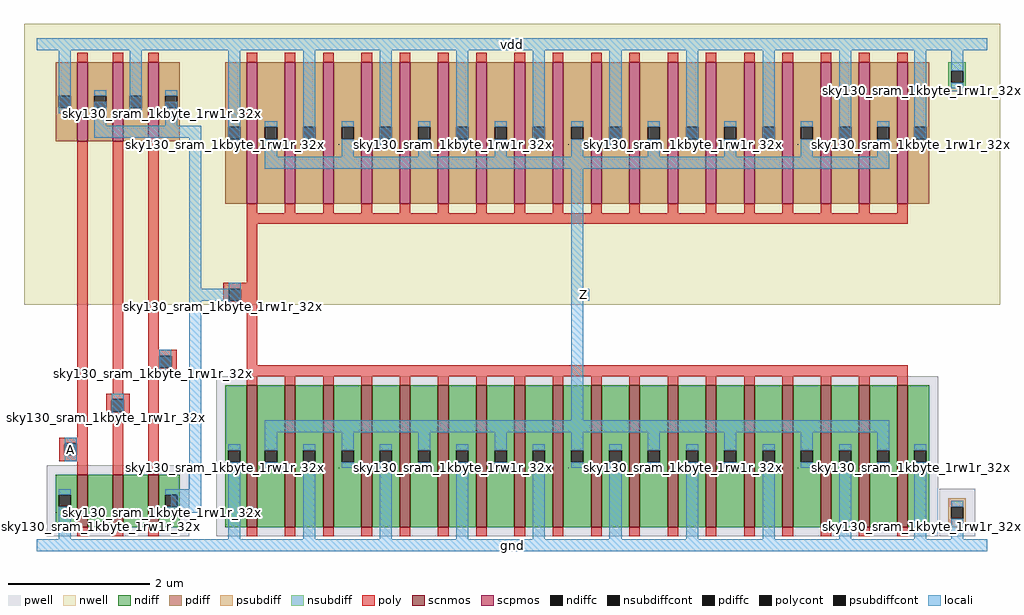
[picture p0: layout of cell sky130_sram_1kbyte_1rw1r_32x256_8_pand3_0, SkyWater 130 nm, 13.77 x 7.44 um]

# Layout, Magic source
magic
tech sky130B
magscale 1 2
<< locali >>
rect 0 1397 2682 1431
rect 430 724 464 1167
rect 430 690 559 724
rect 1525 690 1559 724
rect 345 485 379 551
rect 212 361 246 427
rect 79 237 113 303
rect 0 -17 2682 17
use sky130_sram_1kbyte_1rw1r_32x256_8_pdriver_4  sky130_sram_1kbyte_1rw1r_32x256_8_pdriver_4_0
transform 1 0 478 0 1 0
box -36 -17 2240 1471
use sky130_sram_1kbyte_1rw1r_32x256_8_pnand3  sky130_sram_1kbyte_1rw1r_32x256_8_pnand3_0
transform 1 0 0 0 1 0
box -36 -17 514 1471
<< labels >>
rlabel locali s 1542 707 1542 707 4 Z
rlabel locali s 96 270 96 270 4 A
rlabel locali s 229 394 229 394 4 B
rlabel locali s 362 518 362 518 4 C
rlabel locali s 1341 0 1341 0 4 gnd
rlabel locali s 1341 1414 1341 1414 4 vdd
<< properties >>
string FIXED_BBOX 0 0 2682 1414
string GDS_END 6268862
string GDS_FILE $PDKPATH/libs.ref/sky130_sram_macros/gds/sky130_sram_1kbyte_1rw1r_32x256_8.gds
string GDS_START 6267614
<< end >>

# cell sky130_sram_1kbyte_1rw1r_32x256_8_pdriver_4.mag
magic
tech sky130B
magscale 1 2
<< nwell >>
rect -36 679 2240 1471
<< locali >>
rect 0 1397 2204 1431
rect 64 674 98 740
rect 1047 690 1081 724
rect 0 -17 2204 17
use sky130_sram_1kbyte_1rw1r_32x256_8_pinv_16  sky130_sram_1kbyte_1rw1r_32x256_8_pinv_16_0
transform 1 0 0 0 1 0
box -36 -17 2240 1471
<< labels >>
rlabel locali s 1064 707 1064 707 4 Z
rlabel locali s 81 707 81 707 4 A
rlabel locali s 1102 0 1102 0 4 gnd
rlabel locali s 1102 1414 1102 1414 4 vdd
<< properties >>
string FIXED_BBOX 0 0 2204 1414
string GDS_END 357920
string GDS_FILE $PDKPATH/libs.ref/sky130_sram_macros/gds/sky130_sram_1kbyte_1rw1r_32x256_8.gds
string GDS_START 357088
<< end >>

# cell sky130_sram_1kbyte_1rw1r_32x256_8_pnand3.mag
magic
tech sky130B
magscale 1 2
<< nwell >>
rect -36 679 514 1471
<< pwell >>
rect 128 25 330 225
<< scnmos >>
rect 214 51 244 199
<< ndiff >>
rect 154 51 214 199
rect 244 51 304 199
<< poly >>
rect 114 303 144 1113
rect 214 427 244 1113
rect 314 551 344 1113
rect 314 535 395 551
rect 314 501 345 535
rect 379 501 395 535
rect 314 485 395 501
rect 196 411 262 427
rect 196 377 212 411
rect 246 377 262 411
rect 196 361 262 377
rect 63 287 144 303
rect 63 253 79 287
rect 113 253 144 287
rect 63 237 144 253
rect 114 225 144 237
rect 214 199 244 361
rect 314 225 344 485
rect 214 25 244 51
<< polycont >>
rect 345 501 379 535
rect 212 377 246 411
rect 79 253 113 287
<< locali >>
rect 0 1397 478 1431
rect 62 1218 96 1397
rect 162 1184 196 1251
rect 262 1218 296 1397
rect 362 1184 396 1251
rect 162 1150 464 1184
rect 345 535 379 551
rect 345 485 379 501
rect 212 411 246 427
rect 212 361 246 377
rect 79 287 113 303
rect 79 237 113 253
rect 430 158 464 1150
rect 379 92 464 158
rect 62 17 96 92
rect 0 -17 478 17
use sky130_sram_1kbyte_1rw1r_32x256_8_contact_16  sky130_sram_1kbyte_1rw1r_32x256_8_contact_16_0
transform 1 0 329 0 1 485
box 0 0 1 1
use sky130_sram_1kbyte_1rw1r_32x256_8_contact_16  sky130_sram_1kbyte_1rw1r_32x256_8_contact_16_1
transform 1 0 196 0 1 361
box 0 0 1 1
use sky130_sram_1kbyte_1rw1r_32x256_8_contact_16  sky130_sram_1kbyte_1rw1r_32x256_8_contact_16_2
transform 1 0 63 0 1 237
box 0 0 1 1
use sky130_sram_1kbyte_1rw1r_32x256_8_nmos_m1_w0_740_sactive_dactive  sky130_sram_1kbyte_1rw1r_32x256_8_nmos_m1_w0_740_sactive_dactive_0
transform 1 0 154 0 1 51
box 0 0 1 1
use sky130_sram_1kbyte_1rw1r_32x256_8_nmos_m1_w0_740_sactive_dli  sky130_sram_1kbyte_1rw1r_32x256_8_nmos_m1_w0_740_sactive_dli_0
transform 1 0 254 0 1 51
box -26 -26 176 174
use sky130_sram_1kbyte_1rw1r_32x256_8_nmos_m1_w0_740_sli_dactive  sky130_sram_1kbyte_1rw1r_32x256_8_nmos_m1_w0_740_sli_dactive_0
transform 1 0 54 0 1 51
box -26 -26 176 174
use sky130_sram_1kbyte_1rw1r_32x256_8_pmos_m1_w1_120_sli_dli  sky130_sram_1kbyte_1rw1r_32x256_8_pmos_m1_w1_120_sli_dli_0
transform 1 0 254 0 1 1139
box -59 -54 209 278
use sky130_sram_1kbyte_1rw1r_32x256_8_pmos_m1_w1_120_sli_dli  sky130_sram_1kbyte_1rw1r_32x256_8_pmos_m1_w1_120_sli_dli_1
transform 1 0 154 0 1 1139
box -59 -54 209 278
use sky130_sram_1kbyte_1rw1r_32x256_8_pmos_m1_w1_120_sli_dli  sky130_sram_1kbyte_1rw1r_32x256_8_pmos_m1_w1_120_sli_dli_2
transform 1 0 54 0 1 1139
box -59 -54 209 278
<< labels >>
rlabel locali s 96 270 96 270 4 A
rlabel locali s 229 394 229 394 4 B
rlabel locali s 362 518 362 518 4 C
rlabel locali s 447 1167 447 1167 4 Z
rlabel locali s 239 0 239 0 4 gnd
rlabel locali s 239 1414 239 1414 4 vdd
<< properties >>
string FIXED_BBOX 0 0 478 1414
string GDS_END 361910
string GDS_FILE $PDKPATH/libs.ref/sky130_sram_macros/gds/sky130_sram_1kbyte_1rw1r_32x256_8.gds
string GDS_START 358900
<< end >>

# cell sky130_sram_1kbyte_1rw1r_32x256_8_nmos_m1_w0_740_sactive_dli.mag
magic
tech sky130B
magscale 1 2
<< pwell >>
rect -26 -26 176 174
<< scnmos >>
rect 60 0 90 148
<< ndiff >>
rect 0 0 60 148
rect 90 91 150 148
rect 90 57 108 91
rect 142 57 150 91
rect 90 0 150 57
<< ndiffc >>
rect 108 57 142 91
<< poly >>
rect 60 148 90 174
rect 60 -26 90 0
<< locali >>
rect 108 91 142 107
rect 108 41 142 57
use sky130_sram_1kbyte_1rw1r_32x256_8_contact_11  sky130_sram_1kbyte_1rw1r_32x256_8_contact_11_0
transform 1 0 100 0 1 41
box 0 0 1 1
<< labels >>
rlabel locali s 125 74 125 74 4 D
rlabel poly s 75 74 75 74 4 G
rlabel mvpsubdiff s 25 74 25 74 4 S
<< properties >>
string FIXED_BBOX -25 -26 175 174
string GDS_END 24370
string GDS_FILE $PDKPATH/libs.ref/sky130_sram_macros/gds/sky130_sram_1kbyte_1rw1r_32x256_8.gds
string GDS_START 23648
<< end >>

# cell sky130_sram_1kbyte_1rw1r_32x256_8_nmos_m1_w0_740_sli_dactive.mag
magic
tech sky130B
magscale 1 2
<< pwell >>
rect -26 -26 176 174
<< scnmos >>
rect 60 0 90 148
<< ndiff >>
rect 0 91 60 148
rect 0 57 8 91
rect 42 57 60 91
rect 0 0 60 57
rect 90 0 150 148
<< ndiffc >>
rect 8 57 42 91
<< poly >>
rect 60 148 90 174
rect 60 -26 90 0
<< locali >>
rect 8 91 42 107
rect 8 41 42 57
use sky130_sram_1kbyte_1rw1r_32x256_8_contact_11  sky130_sram_1kbyte_1rw1r_32x256_8_contact_11_0
transform 1 0 0 0 1 41
box 0 0 1 1
<< labels >>
rlabel locali s 25 74 25 74 4 S
rlabel poly s 75 74 75 74 4 G
rlabel mvpsubdiff s 125 74 125 74 4 D
<< properties >>
string FIXED_BBOX -25 -26 175 174
string GDS_END 25184
string GDS_FILE $PDKPATH/libs.ref/sky130_sram_macros/gds/sky130_sram_1kbyte_1rw1r_32x256_8.gds
string GDS_START 24462
<< end >>

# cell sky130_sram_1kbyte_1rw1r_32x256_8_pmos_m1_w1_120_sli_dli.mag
magic
tech sky130B
magscale 1 2
<< nwell >>
rect -54 196 204 278
rect -59 28 209 196
rect -54 -54 204 28
<< scpmos >>
rect 60 0 90 224
<< pdiff >>
rect 0 129 60 224
rect 0 95 8 129
rect 42 95 60 129
rect 0 0 60 95
rect 90 129 150 224
rect 90 95 108 129
rect 142 95 150 129
rect 90 0 150 95
<< pdiffc >>
rect 8 95 42 129
rect 108 95 142 129
<< poly >>
rect 60 224 90 250
rect 60 -26 90 0
<< locali >>
rect 8 129 42 145
rect 8 79 42 95
rect 108 129 142 145
rect 108 79 142 95
use sky130_sram_1kbyte_1rw1r_32x256_8_contact_12  sky130_sram_1kbyte_1rw1r_32x256_8_contact_12_0
transform 1 0 100 0 1 79
box 0 0 1 1
use sky130_sram_1kbyte_1rw1r_32x256_8_contact_12  sky130_sram_1kbyte_1rw1r_32x256_8_contact_12_1
transform 1 0 0 0 1 79
box 0 0 1 1
<< labels >>
rlabel locali s 25 112 25 112 4 S
rlabel locali s 125 112 125 112 4 D
rlabel poly s 75 112 75 112 4 G
<< properties >>
string FIXED_BBOX -54 -54 204 28
string GDS_END 26132
string GDS_FILE $PDKPATH/libs.ref/sky130_sram_macros/gds/sky130_sram_1kbyte_1rw1r_32x256_8.gds
string GDS_START 25272
<< end >>

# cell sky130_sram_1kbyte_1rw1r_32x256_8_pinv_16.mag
magic
tech sky130B
magscale 1 2
<< nwell >>
rect -36 679 2240 1471
<< pwell >>
rect 2068 25 2170 159
<< psubdiff >>
rect 2094 109 2144 133
rect 2094 75 2102 109
rect 2136 75 2144 109
rect 2094 51 2144 75
<< nsubdiff >>
rect 2094 1339 2144 1363
rect 2094 1305 2102 1339
rect 2136 1305 2144 1339
rect 2094 1281 2144 1305
<< psubdiffcont >>
rect 2102 75 2136 109
<< nsubdiffcont >>
rect 2102 1305 2136 1339
<< poly >>
rect 114 740 144 907
rect 48 724 144 740
rect 48 690 64 724
rect 98 690 144 724
rect 48 674 144 690
rect 114 507 144 674
<< polycont >>
rect 64 690 98 724
<< locali >>
rect 0 1397 2204 1431
rect 62 1130 96 1397
rect 274 1130 308 1397
rect 490 1130 524 1397
rect 706 1130 740 1397
rect 922 1130 956 1397
rect 1138 1130 1172 1397
rect 1354 1130 1388 1397
rect 1570 1130 1604 1397
rect 1786 1130 1820 1397
rect 1998 1130 2032 1397
rect 2102 1339 2136 1397
rect 2102 1289 2136 1305
rect 64 724 98 740
rect 64 674 98 690
rect 1030 724 1064 1096
rect 1030 690 1081 724
rect 1030 318 1064 690
rect 62 17 96 218
rect 274 17 308 218
rect 490 17 524 218
rect 706 17 740 218
rect 922 17 956 218
rect 1138 17 1172 218
rect 1354 17 1388 218
rect 1570 17 1604 218
rect 1786 17 1820 218
rect 1998 17 2032 218
rect 2102 109 2136 125
rect 2102 17 2136 75
rect 0 -17 2204 17
use sky130_sram_1kbyte_1rw1r_32x256_8_contact_16  sky130_sram_1kbyte_1rw1r_32x256_8_contact_16_0
transform 1 0 48 0 1 674
box 0 0 1 1
use sky130_sram_1kbyte_1rw1r_32x256_8_contact_28  sky130_sram_1kbyte_1rw1r_32x256_8_contact_28_0
transform 1 0 2094 0 1 1281
box 0 0 1 1
use sky130_sram_1kbyte_1rw1r_32x256_8_contact_29  sky130_sram_1kbyte_1rw1r_32x256_8_contact_29_0
transform 1 0 2094 0 1 51
box 0 0 1 1
use sky130_sram_1kbyte_1rw1r_32x256_8_nmos_m18_w2_000_sli_dli_da_p  sky130_sram_1kbyte_1rw1r_32x256_8_nmos_m18_w2_000_sli_dli_da_p_0
transform 1 0 54 0 1 51
box -26 -26 2012 456
use sky130_sram_1kbyte_1rw1r_32x256_8_pmos_m18_w2_000_sli_dli_da_p  sky130_sram_1kbyte_1rw1r_32x256_8_pmos_m18_w2_000_sli_dli_da_p_0
transform 1 0 54 0 1 963
box -59 -56 2045 454
<< labels >>
rlabel locali s 81 707 81 707 4 A
rlabel locali s 1064 707 1064 707 4 Z
rlabel locali s 1102 0 1102 0 4 gnd
rlabel locali s 1102 1414 1102 1414 4 vdd
<< properties >>
string FIXED_BBOX 0 0 2204 1414
string GDS_END 100586
string GDS_FILE $PDKPATH/libs.ref/sky130_sram_macros/gds/sky130_sram_1kbyte_1rw1r_32x256_8.gds
string GDS_START 97564
<< end >>

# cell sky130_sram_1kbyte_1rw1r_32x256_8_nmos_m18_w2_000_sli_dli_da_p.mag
magic
tech sky130B
magscale 1 2
<< pwell >>
rect -26 -26 2012 426
<< scnmos >>
rect 60 0 90 400
rect 168 0 198 400
rect 276 0 306 400
rect 384 0 414 400
rect 492 0 522 400
rect 600 0 630 400
rect 708 0 738 400
rect 816 0 846 400
rect 924 0 954 400
rect 1032 0 1062 400
rect 1140 0 1170 400
rect 1248 0 1278 400
rect 1356 0 1386 400
rect 1464 0 1494 400
rect 1572 0 1602 400
rect 1680 0 1710 400
rect 1788 0 1818 400
rect 1896 0 1926 400
<< ndiff >>
rect 0 217 60 400
rect 0 183 8 217
rect 42 183 60 217
rect 0 0 60 183
rect 90 217 168 400
rect 90 183 112 217
rect 146 183 168 217
rect 90 0 168 183
rect 198 217 276 400
rect 198 183 220 217
rect 254 183 276 217
rect 198 0 276 183
rect 306 217 384 400
rect 306 183 328 217
rect 362 183 384 217
rect 306 0 384 183
rect 414 217 492 400
rect 414 183 436 217
rect 470 183 492 217
rect 414 0 492 183
rect 522 217 600 400
rect 522 183 544 217
rect 578 183 600 217
rect 522 0 600 183
rect 630 217 708 400
rect 630 183 652 217
rect 686 183 708 217
rect 630 0 708 183
rect 738 217 816 400
rect 738 183 760 217
rect 794 183 816 217
rect 738 0 816 183
rect 846 217 924 400
rect 846 183 868 217
rect 902 183 924 217
rect 846 0 924 183
rect 954 217 1032 400
rect 954 183 976 217
rect 1010 183 1032 217
rect 954 0 1032 183
rect 1062 217 1140 400
rect 1062 183 1084 217
rect 1118 183 1140 217
rect 1062 0 1140 183
rect 1170 217 1248 400
rect 1170 183 1192 217
rect 1226 183 1248 217
rect 1170 0 1248 183
rect 1278 217 1356 400
rect 1278 183 1300 217
rect 1334 183 1356 217
rect 1278 0 1356 183
rect 1386 217 1464 400
rect 1386 183 1408 217
rect 1442 183 1464 217
rect 1386 0 1464 183
rect 1494 217 1572 400
rect 1494 183 1516 217
rect 1550 183 1572 217
rect 1494 0 1572 183
rect 1602 217 1680 400
rect 1602 183 1624 217
rect 1658 183 1680 217
rect 1602 0 1680 183
rect 1710 217 1788 400
rect 1710 183 1732 217
rect 1766 183 1788 217
rect 1710 0 1788 183
rect 1818 217 1896 400
rect 1818 183 1840 217
rect 1874 183 1896 217
rect 1818 0 1896 183
rect 1926 217 1986 400
rect 1926 183 1944 217
rect 1978 183 1986 217
rect 1926 0 1986 183
<< ndiffc >>
rect 8 183 42 217
rect 112 183 146 217
rect 220 183 254 217
rect 328 183 362 217
rect 436 183 470 217
rect 544 183 578 217
rect 652 183 686 217
rect 760 183 794 217
rect 868 183 902 217
rect 976 183 1010 217
rect 1084 183 1118 217
rect 1192 183 1226 217
rect 1300 183 1334 217
rect 1408 183 1442 217
rect 1516 183 1550 217
rect 1624 183 1658 217
rect 1732 183 1766 217
rect 1840 183 1874 217
rect 1944 183 1978 217
<< poly >>
rect 60 426 1926 456
rect 60 400 90 426
rect 168 400 198 426
rect 276 400 306 426
rect 384 400 414 426
rect 492 400 522 426
rect 600 400 630 426
rect 708 400 738 426
rect 816 400 846 426
rect 924 400 954 426
rect 1032 400 1062 426
rect 1140 400 1170 426
rect 1248 400 1278 426
rect 1356 400 1386 426
rect 1464 400 1494 426
rect 1572 400 1602 426
rect 1680 400 1710 426
rect 1788 400 1818 426
rect 1896 400 1926 426
rect 60 -26 90 0
rect 168 -26 198 0
rect 276 -26 306 0
rect 384 -26 414 0
rect 492 -26 522 0
rect 600 -26 630 0
rect 708 -26 738 0
rect 816 -26 846 0
rect 924 -26 954 0
rect 1032 -26 1062 0
rect 1140 -26 1170 0
rect 1248 -26 1278 0
rect 1356 -26 1386 0
rect 1464 -26 1494 0
rect 1572 -26 1602 0
rect 1680 -26 1710 0
rect 1788 -26 1818 0
rect 1896 -26 1926 0
<< locali >>
rect 112 267 1874 301
rect 8 217 42 233
rect 8 167 42 183
rect 112 217 146 267
rect 112 167 146 183
rect 220 217 254 233
rect 220 167 254 183
rect 328 217 362 267
rect 328 167 362 183
rect 436 217 470 233
rect 436 167 470 183
rect 544 217 578 267
rect 544 167 578 183
rect 652 217 686 233
rect 652 167 686 183
rect 760 217 794 267
rect 760 167 794 183
rect 868 217 902 233
rect 868 167 902 183
rect 976 217 1010 267
rect 976 167 1010 183
rect 1084 217 1118 233
rect 1084 167 1118 183
rect 1192 217 1226 267
rect 1192 167 1226 183
rect 1300 217 1334 233
rect 1300 167 1334 183
rect 1408 217 1442 267
rect 1408 167 1442 183
rect 1516 217 1550 233
rect 1516 167 1550 183
rect 1624 217 1658 267
rect 1624 167 1658 183
rect 1732 217 1766 233
rect 1732 167 1766 183
rect 1840 217 1874 267
rect 1840 167 1874 183
rect 1944 217 1978 233
rect 1944 167 1978 183
use sky130_sram_1kbyte_1rw1r_32x256_8_contact_11  sky130_sram_1kbyte_1rw1r_32x256_8_contact_11_0
transform 1 0 1936 0 1 167
box 0 0 1 1
use sky130_sram_1kbyte_1rw1r_32x256_8_contact_11  sky130_sram_1kbyte_1rw1r_32x256_8_contact_11_1
transform 1 0 1832 0 1 167
box 0 0 1 1
use sky130_sram_1kbyte_1rw1r_32x256_8_contact_11  sky130_sram_1kbyte_1rw1r_32x256_8_contact_11_2
transform 1 0 1724 0 1 167
box 0 0 1 1
use sky130_sram_1kbyte_1rw1r_32x256_8_contact_11  sky130_sram_1kbyte_1rw1r_32x256_8_contact_11_3
transform 1 0 1616 0 1 167
box 0 0 1 1
use sky130_sram_1kbyte_1rw1r_32x256_8_contact_11  sky130_sram_1kbyte_1rw1r_32x256_8_contact_11_4
transform 1 0 1508 0 1 167
box 0 0 1 1
use sky130_sram_1kbyte_1rw1r_32x256_8_contact_11  sky130_sram_1kbyte_1rw1r_32x256_8_contact_11_5
transform 1 0 1400 0 1 167
box 0 0 1 1
use sky130_sram_1kbyte_1rw1r_32x256_8_contact_11  sky130_sram_1kbyte_1rw1r_32x256_8_contact_11_6
transform 1 0 1292 0 1 167
box 0 0 1 1
use sky130_sram_1kbyte_1rw1r_32x256_8_contact_11  sky130_sram_1kbyte_1rw1r_32x256_8_contact_11_7
transform 1 0 1184 0 1 167
box 0 0 1 1
use sky130_sram_1kbyte_1rw1r_32x256_8_contact_11  sky130_sram_1kbyte_1rw1r_32x256_8_contact_11_8
transform 1 0 1076 0 1 167
box 0 0 1 1
use sky130_sram_1kbyte_1rw1r_32x256_8_contact_11  sky130_sram_1kbyte_1rw1r_32x256_8_contact_11_9
transform 1 0 968 0 1 167
box 0 0 1 1
use sky130_sram_1kbyte_1rw1r_32x256_8_contact_11  sky130_sram_1kbyte_1rw1r_32x256_8_contact_11_10
transform 1 0 860 0 1 167
box 0 0 1 1
use sky130_sram_1kbyte_1rw1r_32x256_8_contact_11  sky130_sram_1kbyte_1rw1r_32x256_8_contact_11_11
transform 1 0 752 0 1 167
box 0 0 1 1
use sky130_sram_1kbyte_1rw1r_32x256_8_contact_11  sky130_sram_1kbyte_1rw1r_32x256_8_contact_11_12
transform 1 0 644 0 1 167
box 0 0 1 1
use sky130_sram_1kbyte_1rw1r_32x256_8_contact_11  sky130_sram_1kbyte_1rw1r_32x256_8_contact_11_13
transform 1 0 536 0 1 167
box 0 0 1 1
use sky130_sram_1kbyte_1rw1r_32x256_8_contact_11  sky130_sram_1kbyte_1rw1r_32x256_8_contact_11_14
transform 1 0 428 0 1 167
box 0 0 1 1
use sky130_sram_1kbyte_1rw1r_32x256_8_contact_11  sky130_sram_1kbyte_1rw1r_32x256_8_contact_11_15
transform 1 0 320 0 1 167
box 0 0 1 1
use sky130_sram_1kbyte_1rw1r_32x256_8_contact_11  sky130_sram_1kbyte_1rw1r_32x256_8_contact_11_16
transform 1 0 212 0 1 167
box 0 0 1 1
use sky130_sram_1kbyte_1rw1r_32x256_8_contact_11  sky130_sram_1kbyte_1rw1r_32x256_8_contact_11_17
transform 1 0 104 0 1 167
box 0 0 1 1
use sky130_sram_1kbyte_1rw1r_32x256_8_contact_11  sky130_sram_1kbyte_1rw1r_32x256_8_contact_11_18
transform 1 0 0 0 1 167
box 0 0 1 1
<< labels >>
rlabel locali s 1749 200 1749 200 4 S
rlabel locali s 453 200 453 200 4 S
rlabel locali s 1101 200 1101 200 4 S
rlabel locali s 1533 200 1533 200 4 S
rlabel locali s 669 200 669 200 4 S
rlabel locali s 1961 200 1961 200 4 S
rlabel locali s 25 200 25 200 4 S
rlabel locali s 885 200 885 200 4 S
rlabel locali s 1317 200 1317 200 4 S
rlabel locali s 237 200 237 200 4 S
rlabel locali s 993 284 993 284 4 D
rlabel poly s 993 441 993 441 4 G
<< properties >>
string FIXED_BBOX -25 -26 2011 456
string GDS_END 30916
string GDS_FILE $PDKPATH/libs.ref/sky130_sram_macros/gds/sky130_sram_1kbyte_1rw1r_32x256_8.gds
string GDS_START 26226
<< end >>

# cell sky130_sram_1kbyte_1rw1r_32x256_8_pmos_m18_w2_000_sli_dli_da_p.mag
magic
tech sky130B
magscale 1 2
<< nwell >>
rect -54 284 2040 454
rect -59 116 2045 284
rect -54 -54 2040 116
<< scpmos >>
rect 60 0 90 400
rect 168 0 198 400
rect 276 0 306 400
rect 384 0 414 400
rect 492 0 522 400
rect 600 0 630 400
rect 708 0 738 400
rect 816 0 846 400
rect 924 0 954 400
rect 1032 0 1062 400
rect 1140 0 1170 400
rect 1248 0 1278 400
rect 1356 0 1386 400
rect 1464 0 1494 400
rect 1572 0 1602 400
rect 1680 0 1710 400
rect 1788 0 1818 400
rect 1896 0 1926 400
<< pdiff >>
rect 0 217 60 400
rect 0 183 8 217
rect 42 183 60 217
rect 0 0 60 183
rect 90 217 168 400
rect 90 183 112 217
rect 146 183 168 217
rect 90 0 168 183
rect 198 217 276 400
rect 198 183 220 217
rect 254 183 276 217
rect 198 0 276 183
rect 306 217 384 400
rect 306 183 328 217
rect 362 183 384 217
rect 306 0 384 183
rect 414 217 492 400
rect 414 183 436 217
rect 470 183 492 217
rect 414 0 492 183
rect 522 217 600 400
rect 522 183 544 217
rect 578 183 600 217
rect 522 0 600 183
rect 630 217 708 400
rect 630 183 652 217
rect 686 183 708 217
rect 630 0 708 183
rect 738 217 816 400
rect 738 183 760 217
rect 794 183 816 217
rect 738 0 816 183
rect 846 217 924 400
rect 846 183 868 217
rect 902 183 924 217
rect 846 0 924 183
rect 954 217 1032 400
rect 954 183 976 217
rect 1010 183 1032 217
rect 954 0 1032 183
rect 1062 217 1140 400
rect 1062 183 1084 217
rect 1118 183 1140 217
rect 1062 0 1140 183
rect 1170 217 1248 400
rect 1170 183 1192 217
rect 1226 183 1248 217
rect 1170 0 1248 183
rect 1278 217 1356 400
rect 1278 183 1300 217
rect 1334 183 1356 217
rect 1278 0 1356 183
rect 1386 217 1464 400
rect 1386 183 1408 217
rect 1442 183 1464 217
rect 1386 0 1464 183
rect 1494 217 1572 400
rect 1494 183 1516 217
rect 1550 183 1572 217
rect 1494 0 1572 183
rect 1602 217 1680 400
rect 1602 183 1624 217
rect 1658 183 1680 217
rect 1602 0 1680 183
rect 1710 217 1788 400
rect 1710 183 1732 217
rect 1766 183 1788 217
rect 1710 0 1788 183
rect 1818 217 1896 400
rect 1818 183 1840 217
rect 1874 183 1896 217
rect 1818 0 1896 183
rect 1926 217 1986 400
rect 1926 183 1944 217
rect 1978 183 1986 217
rect 1926 0 1986 183
<< pdiffc >>
rect 8 183 42 217
rect 112 183 146 217
rect 220 183 254 217
rect 328 183 362 217
rect 436 183 470 217
rect 544 183 578 217
rect 652 183 686 217
rect 760 183 794 217
rect 868 183 902 217
rect 976 183 1010 217
rect 1084 183 1118 217
rect 1192 183 1226 217
rect 1300 183 1334 217
rect 1408 183 1442 217
rect 1516 183 1550 217
rect 1624 183 1658 217
rect 1732 183 1766 217
rect 1840 183 1874 217
rect 1944 183 1978 217
<< poly >>
rect 60 400 90 426
rect 168 400 198 426
rect 276 400 306 426
rect 384 400 414 426
rect 492 400 522 426
rect 600 400 630 426
rect 708 400 738 426
rect 816 400 846 426
rect 924 400 954 426
rect 1032 400 1062 426
rect 1140 400 1170 426
rect 1248 400 1278 426
rect 1356 400 1386 426
rect 1464 400 1494 426
rect 1572 400 1602 426
rect 1680 400 1710 426
rect 1788 400 1818 426
rect 1896 400 1926 426
rect 60 -26 90 0
rect 168 -26 198 0
rect 276 -26 306 0
rect 384 -26 414 0
rect 492 -26 522 0
rect 600 -26 630 0
rect 708 -26 738 0
rect 816 -26 846 0
rect 924 -26 954 0
rect 1032 -26 1062 0
rect 1140 -26 1170 0
rect 1248 -26 1278 0
rect 1356 -26 1386 0
rect 1464 -26 1494 0
rect 1572 -26 1602 0
rect 1680 -26 1710 0
rect 1788 -26 1818 0
rect 1896 -26 1926 0
rect 60 -56 1926 -26
<< locali >>
rect 8 217 42 233
rect 8 167 42 183
rect 112 217 146 233
rect 112 133 146 183
rect 220 217 254 233
rect 220 167 254 183
rect 328 217 362 233
rect 328 133 362 183
rect 436 217 470 233
rect 436 167 470 183
rect 544 217 578 233
rect 544 133 578 183
rect 652 217 686 233
rect 652 167 686 183
rect 760 217 794 233
rect 760 133 794 183
rect 868 217 902 233
rect 868 167 902 183
rect 976 217 1010 233
rect 976 133 1010 183
rect 1084 217 1118 233
rect 1084 167 1118 183
rect 1192 217 1226 233
rect 1192 133 1226 183
rect 1300 217 1334 233
rect 1300 167 1334 183
rect 1408 217 1442 233
rect 1408 133 1442 183
rect 1516 217 1550 233
rect 1516 167 1550 183
rect 1624 217 1658 233
rect 1624 133 1658 183
rect 1732 217 1766 233
rect 1732 167 1766 183
rect 1840 217 1874 233
rect 1840 133 1874 183
rect 1944 217 1978 233
rect 1944 167 1978 183
rect 112 99 1874 133
use sky130_sram_1kbyte_1rw1r_32x256_8_contact_12  sky130_sram_1kbyte_1rw1r_32x256_8_contact_12_0
transform 1 0 1936 0 1 167
box 0 0 1 1
use sky130_sram_1kbyte_1rw1r_32x256_8_contact_12  sky130_sram_1kbyte_1rw1r_32x256_8_contact_12_1
transform 1 0 1832 0 1 167
box 0 0 1 1
use sky130_sram_1kbyte_1rw1r_32x256_8_contact_12  sky130_sram_1kbyte_1rw1r_32x256_8_contact_12_2
transform 1 0 1724 0 1 167
box 0 0 1 1
use sky130_sram_1kbyte_1rw1r_32x256_8_contact_12  sky130_sram_1kbyte_1rw1r_32x256_8_contact_12_3
transform 1 0 1616 0 1 167
box 0 0 1 1
use sky130_sram_1kbyte_1rw1r_32x256_8_contact_12  sky130_sram_1kbyte_1rw1r_32x256_8_contact_12_4
transform 1 0 1508 0 1 167
box 0 0 1 1
use sky130_sram_1kbyte_1rw1r_32x256_8_contact_12  sky130_sram_1kbyte_1rw1r_32x256_8_contact_12_5
transform 1 0 1400 0 1 167
box 0 0 1 1
use sky130_sram_1kbyte_1rw1r_32x256_8_contact_12  sky130_sram_1kbyte_1rw1r_32x256_8_contact_12_6
transform 1 0 1292 0 1 167
box 0 0 1 1
use sky130_sram_1kbyte_1rw1r_32x256_8_contact_12  sky130_sram_1kbyte_1rw1r_32x256_8_contact_12_7
transform 1 0 1184 0 1 167
box 0 0 1 1
use sky130_sram_1kbyte_1rw1r_32x256_8_contact_12  sky130_sram_1kbyte_1rw1r_32x256_8_contact_12_8
transform 1 0 1076 0 1 167
box 0 0 1 1
use sky130_sram_1kbyte_1rw1r_32x256_8_contact_12  sky130_sram_1kbyte_1rw1r_32x256_8_contact_12_9
transform 1 0 968 0 1 167
box 0 0 1 1
use sky130_sram_1kbyte_1rw1r_32x256_8_contact_12  sky130_sram_1kbyte_1rw1r_32x256_8_contact_12_10
transform 1 0 860 0 1 167
box 0 0 1 1
use sky130_sram_1kbyte_1rw1r_32x256_8_contact_12  sky130_sram_1kbyte_1rw1r_32x256_8_contact_12_11
transform 1 0 752 0 1 167
box 0 0 1 1
use sky130_sram_1kbyte_1rw1r_32x256_8_contact_12  sky130_sram_1kbyte_1rw1r_32x256_8_contact_12_12
transform 1 0 644 0 1 167
box 0 0 1 1
use sky130_sram_1kbyte_1rw1r_32x256_8_contact_12  sky130_sram_1kbyte_1rw1r_32x256_8_contact_12_13
transform 1 0 536 0 1 167
box 0 0 1 1
use sky130_sram_1kbyte_1rw1r_32x256_8_contact_12  sky130_sram_1kbyte_1rw1r_32x256_8_contact_12_14
transform 1 0 428 0 1 167
box 0 0 1 1
use sky130_sram_1kbyte_1rw1r_32x256_8_contact_12  sky130_sram_1kbyte_1rw1r_32x256_8_contact_12_15
transform 1 0 320 0 1 167
box 0 0 1 1
use sky130_sram_1kbyte_1rw1r_32x256_8_contact_12  sky130_sram_1kbyte_1rw1r_32x256_8_contact_12_16
transform 1 0 212 0 1 167
box 0 0 1 1
use sky130_sram_1kbyte_1rw1r_32x256_8_contact_12  sky130_sram_1kbyte_1rw1r_32x256_8_contact_12_17
transform 1 0 104 0 1 167
box 0 0 1 1
use sky130_sram_1kbyte_1rw1r_32x256_8_contact_12  sky130_sram_1kbyte_1rw1r_32x256_8_contact_12_18
transform 1 0 0 0 1 167
box 0 0 1 1
<< labels >>
rlabel locali s 1749 200 1749 200 4 S
rlabel locali s 453 200 453 200 4 S
rlabel locali s 1101 200 1101 200 4 S
rlabel locali s 1533 200 1533 200 4 S
rlabel locali s 669 200 669 200 4 S
rlabel locali s 1961 200 1961 200 4 S
rlabel locali s 25 200 25 200 4 S
rlabel locali s 885 200 885 200 4 S
rlabel locali s 1317 200 1317 200 4 S
rlabel locali s 237 200 237 200 4 S
rlabel locali s 993 116 993 116 4 D
rlabel poly s 993 -41 993 -41 4 G
<< properties >>
string FIXED_BBOX -54 -56 2040 116
string GDS_END 35764
string GDS_FILE $PDKPATH/libs.ref/sky130_sram_macros/gds/sky130_sram_1kbyte_1rw1r_32x256_8.gds
string GDS_START 31010
<< end >>
